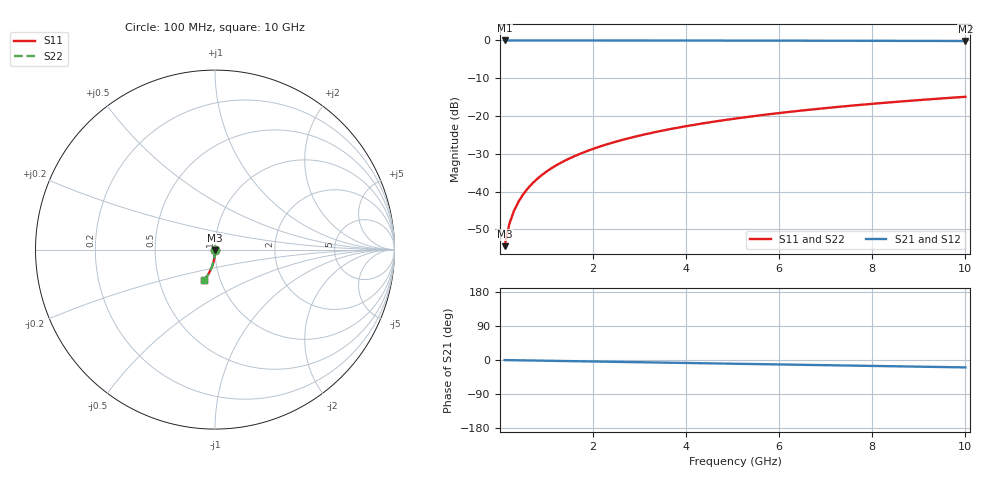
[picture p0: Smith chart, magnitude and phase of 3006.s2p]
# Hz S RI R 50.00
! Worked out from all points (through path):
!   100 points, 100 MHz to 10 GHz, reference 50 ohm
!   highest |S21| = 0.00 dB at 100 MHz (marker M1); lowest = -0.1 dB at 10 GHz (marker M2)
!   group delay of S21, straight-line fit = 5.42 ps
!   lowest |S11| = -54.5 dB at 100 MHz (marker M3), VSWR 1.00, Z = 50 - j0.184 ohm
!   |S11| at or under -10 dB: start of sweep to end of sweep
!   |S22| runs from -54.5 to -14.9 dB; largest |S21 - S12| = 0
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1e8  0.000443 -0.00184  0.9995 -0.00342  0.9995 -0.00342  0.000443 -0.00184
2e8  0.000424 -0.00367  0.9995 -0.00683  0.9995 -0.00683  0.000424 -0.00367
3e8  0.000393 -0.00551  0.9995 -0.0102  0.9995 -0.0102  0.000393 -0.00551
4e8  0.000348 -0.00735  0.9994 -0.0137  0.9994 -0.0137  0.000348 -0.00735
5e8  0.000291 -0.00918  0.9993 -0.0171  0.9993 -0.0171  0.000291 -0.00918
6e8  0.000221 -0.011  0.9993 -0.0205  0.9993 -0.0205  0.000221 -0.011
7e8  0.000138 -0.0129  0.9991 -0.0239  0.9991 -0.0239  0.000138 -0.0129
8e8  4.23e-05 -0.0147  0.999 -0.0273  0.999 -0.0273  4.23e-05 -0.0147
9e8  -6.57e-05 -0.0165  0.9989 -0.0307  0.9989 -0.0307  -6.57e-05 -0.0165
1.1e9  -0.00032 -0.0202  0.9986 -0.0376  0.9986 -0.0376  -0.00032 -0.0202
1.4e9  -0.000795 -0.0257  0.998 -0.0478  0.998 -0.0478  -0.000795 -0.0257
1.8e9  -0.0016 -0.033  0.997 -0.0614  0.997 -0.0614  -0.0016 -0.033
2.1e9  -0.00234 -0.0385  0.9962 -0.0716  0.9962 -0.0716  -0.00234 -0.0385
2.5e9  -0.0035 -0.0457  0.9948 -0.0852  0.9948 -0.0852  -0.0035 -0.0457
2.9e9  -0.00486 -0.0529  0.9931 -0.0988  0.9931 -0.0988  -0.00486 -0.0529
3.4e9  -0.00683 -0.0619  0.9908 -0.1157  0.9908 -0.1157  -0.00683 -0.0619
4.2e9  -0.0106 -0.0761  0.9862 -0.1426  0.9862 -0.1426  -0.0106 -0.0761
5.1e9  -0.0158 -0.0918  0.9799 -0.1725  0.9799 -0.1725  -0.0158 -0.0918
5.9e9  -0.0212 -0.1054  0.9734 -0.1989  0.9734 -0.1989  -0.0212 -0.1054
6.7e9  -0.0273 -0.1188  0.966 -0.2249  0.966 -0.2249  -0.0273 -0.1188
8.4e9  -0.0426 -0.1457  0.9474 -0.279  0.9474 -0.279  -0.0426 -0.1457
1e10  -0.0596 -0.1692  0.9266 -0.3281  0.9266 -0.3281  -0.0596 -0.1692
